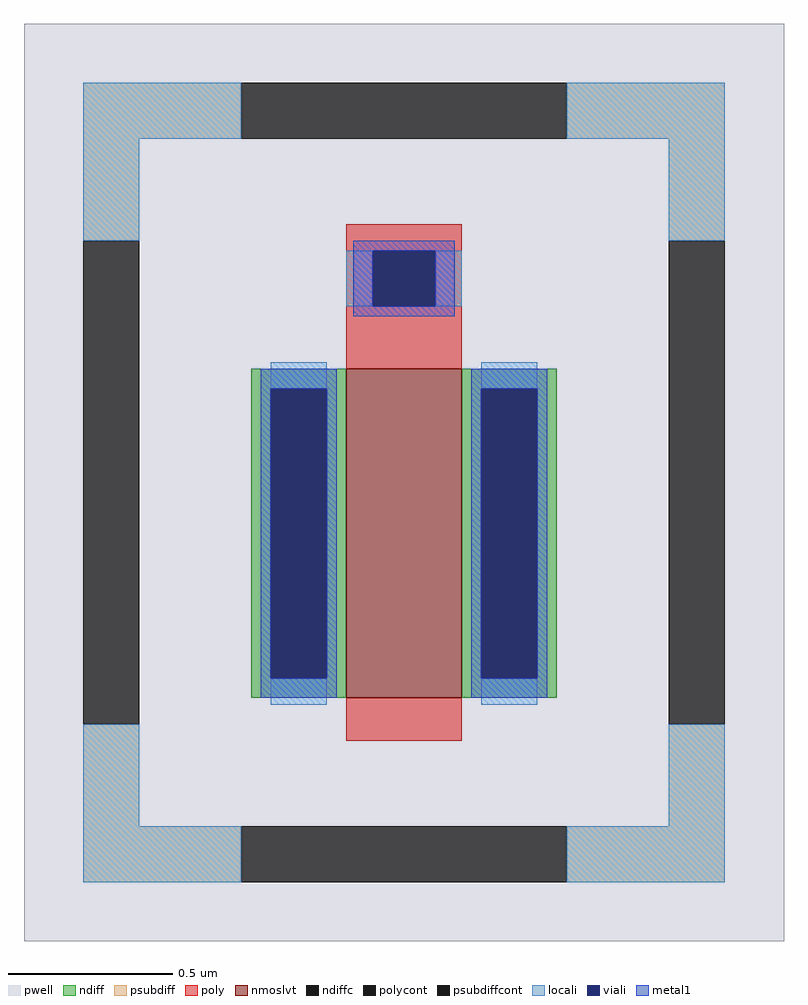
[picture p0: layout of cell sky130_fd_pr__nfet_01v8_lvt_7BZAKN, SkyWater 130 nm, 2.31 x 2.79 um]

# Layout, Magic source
magic
tech sky130A
magscale 1 2
<< pwell >>
rect -231 -279 231 279
<< nmoslvt >>
rect -35 -131 35 69
<< ndiff >>
rect -93 57 -35 69
rect -93 -119 -81 57
rect -47 -119 -35 57
rect -93 -131 -35 -119
rect 35 57 93 69
rect 35 -119 47 57
rect 81 -119 93 57
rect 35 -131 93 -119
<< ndiffc >>
rect -81 -119 -47 57
rect 47 -119 81 57
<< psubdiff >>
rect -195 209 -99 243
rect 99 209 195 243
rect -195 147 -161 209
rect 161 147 195 209
rect -195 -209 -161 -147
rect 161 -209 195 -147
rect -195 -243 -99 -209
rect 99 -243 195 -209
<< psubdiffcont >>
rect -99 209 99 243
rect -195 -147 -161 147
rect 161 -147 195 147
rect -99 -243 99 -209
<< poly >>
rect -35 141 35 157
rect -35 107 -19 141
rect 19 107 35 141
rect -35 69 35 107
rect -35 -157 35 -131
<< polycont >>
rect -19 107 19 141
<< locali >>
rect -195 209 -99 243
rect 99 209 195 243
rect -195 147 -161 209
rect 161 147 195 209
rect -35 107 -19 141
rect 19 107 35 141
rect -81 57 -47 73
rect -81 -135 -47 -119
rect 47 57 81 73
rect 47 -135 81 -119
rect -195 -209 -161 -147
rect 161 -209 195 -147
rect -195 -243 -99 -209
rect 99 -243 195 -209
<< viali >>
rect -19 107 19 141
rect -81 -119 -47 57
rect 47 -119 81 57
<< metal1 >>
rect -31 141 31 147
rect -31 107 -19 141
rect 19 107 31 141
rect -31 101 31 107
rect -87 57 -41 69
rect -87 -119 -81 57
rect -47 -119 -41 57
rect -87 -131 -41 -119
rect 41 57 87 69
rect 41 -119 47 57
rect 81 -119 87 57
rect 41 -131 87 -119
<< properties >>
string FIXED_BBOX -178 -226 178 226
string gencell sky130_fd_pr__nfet_01v8_lvt
string library sky130
string parameters w 1 l 0.350 m 1 nf 1 diffcov 100 polycov 100 guard 1 glc 1 grc 1 gtc 1 gbc 1 tbcov 100 rlcov 100 topc 1 botc 0 poverlap 0 doverlap 1 lmin 0.15 wmin 0.42 compatible {sky130_fd_pr__nfet_01v8 sky130_fd_pr__nfet_01v8_lvt  sky130_fd_bs_flash__special_sonosfet_star  sky130_fd_pr__nfet_g5v0d10v5 sky130_fd_pr__nfet_05v0_nvt  sky130_fd_pr__nfet_03v3_nvt} full_metal 1 viasrc 100 viadrn 100 viagate 100 viagb 0 viagr 0 viagl 0 viagt 0
<< end >>
